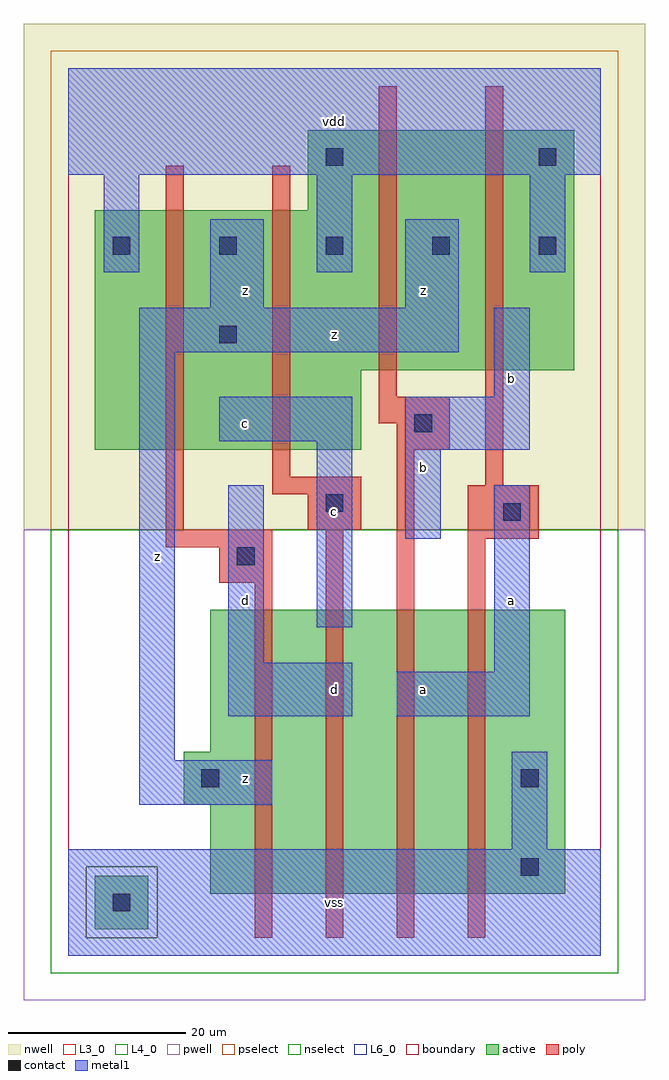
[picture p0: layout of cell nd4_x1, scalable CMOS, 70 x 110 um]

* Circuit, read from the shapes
.subckt nd4_x1 a b c d vdd vss z
M1 n1 d z vss nfet w=32u l=2u
M2 n2 c n1 vss nfet w=32u l=2u
M3 n3 b n2 vss nfet w=32u l=2u
M4 vss a n3 vss nfet w=32u l=2u
M5 z d vdd n4 pfet w=27u l=2u
M6 vdd c z n4 pfet w=27u l=2u
M7 z b vdd n4 pfet w=27u l=2u
M8 vdd a z n4 pfet w=27u l=2u
.ends

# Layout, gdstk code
import gdstk
lib = gdstk.Library(unit=1e-6, precision=1e-09)
def R(c, l, rs):  # rectangles x0, y0, x1, y1
    for r in rs: c.add(gdstk.rectangle(r[:2], r[2:], *l))
def A(c, l, x, y, w, h, nx, ny, dx, dy):  # array of equal rectangles
    R(c, l, [(x+i*dx, y+j*dy, x+i*dx+w, y+j*dy+h) for i in range(nx) for j in range(ny)])
L3_0 = (3, 0)
L4_0 = (4, 0)
L6_0 = (6, 0)
contact = (25, 0)
pwell = (41, 0)
nwell = (42, 0)
active = (43, 0)
pselect = (44, 0)
nselect = (45, 0)
poly = (46, 0)
metal1 = (49, 0)
boundary = (63, 0)

nd4_x1 = lib.new_cell('nd4_x1')
R(nd4_x1, L3_0, [(16,7,56,17), (13,17,56,23), (16,23,56,39)])
R(nd4_x1, L4_0, [(3,57,33,66), (3,66,57,84), (27,84,57,93)])
R(nd4_x1, L6_0, [(3,3,9,9)])
A(nd4_x1, contact, 5, 79, 2, 2, 5, 1, 12, 0)
R(nd4_x1, contact, [(5,5,7,7), (51,9,53,11), (15,19,17,21), (51,19,53,21), (19,44,21,46), (49,49,51,51), (29,50,31,52), (39,59,41,61), (17,69,19,71), (29,89,31,91), (53,89,55,91)])
R(nd4_x1, pwell, [(-5,-5,65,48)])
R(nd4_x1, nwell, [(-5,48,65,105)])
R(nd4_x1, active, [(3,3,9,9), (16,7,56,17), (13,17,56,23), (16,23,56,39), (3,57,33,66), (3,66,57,84), (27,84,57,93)])
R(nd4_x1, pselect, [(2,2,10,10), (-2,48,62,102)])
R(nd4_x1, nselect, [(-2,-2,62,2), (-2,2,2,10), (10,2,62,10), (-2,10,62,48)])
R(nd4_x1, poly, [(21,2,23,42), (29,2,31,48), (37,2,39,57), (45,2,47,47), (17,42,23,46), (11,46,23,48), (45,47,53,53), (11,48,13,89), (27,48,33,52), (23,52,33,54), (47,53,49,98), (23,54,25,89), (37,57,43,60), (35,60,43,63), (35,63,37,98)])
A(nd4_x1, metal1, 4, 77, 4, 11, 3, 1, 24, 0)
R(nd4_x1, metal1, [(0,0,60,12), (50,12,54,23), (8,17,23,22), (8,22,12,68), (18,27,32,33), (37,27,52,32), (48,32,52,53), (18,33,22,53), (28,37,32,58), (38,47,42,57), (38,57,52,63), (17,58,32,63), (48,63,52,73), (8,68,44,73), (16,73,22,83), (38,73,44,83), (0,88,60,100)])
R(nd4_x1, boundary, [(0,0,60,100)])
nd4_x1.add(gdstk.Label('z', (10,45), layer=49, texttype=0))
nd4_x1.add(gdstk.Label('z', (20,20), layer=49, texttype=0))
nd4_x1.add(gdstk.Label('d', (20,40), layer=49, texttype=0))
nd4_x1.add(gdstk.Label('c', (20,60), layer=49, texttype=0))
nd4_x1.add(gdstk.Label('z', (20,75), layer=49, texttype=0))
nd4_x1.add(gdstk.Label('vss', (30,6), layer=49, texttype=0))
nd4_x1.add(gdstk.Label('d', (30,30), layer=49, texttype=0))
nd4_x1.add(gdstk.Label('a', (40,30), layer=49, texttype=0))
nd4_x1.add(gdstk.Label('c', (30,50), layer=49, texttype=0))
nd4_x1.add(gdstk.Label('z', (30,70), layer=49, texttype=0))
nd4_x1.add(gdstk.Label('b', (40,55), layer=49, texttype=0))
nd4_x1.add(gdstk.Label('z', (40,75), layer=49, texttype=0))
nd4_x1.add(gdstk.Label('vdd', (30,94), layer=49, texttype=0))
nd4_x1.add(gdstk.Label('a', (50,40), layer=49, texttype=0))
nd4_x1.add(gdstk.Label('b', (50,65), layer=49, texttype=0))

lib.write_gds('nd4_x1.gds')
